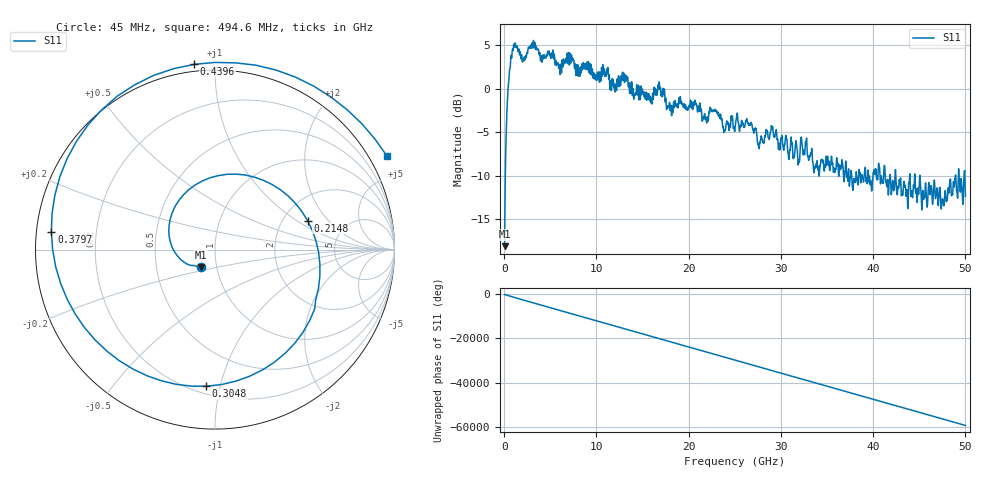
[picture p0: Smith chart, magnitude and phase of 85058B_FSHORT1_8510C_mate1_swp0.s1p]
!Created with skrf (http://scikit-rf.org).
# Hz S RI R 50.0
!freq ReS11 ImS11
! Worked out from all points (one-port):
!   10001 points, 45 MHz to 50 GHz, reference 50 ohm
!   lowest |S11| = -18.1 dB at 45 MHz (marker M1), VSWR 1.28, Z = 42.1 - j8.33 ohm
!   |S11| at or under -10 dB: 42.45 GHz to 43.96 GHz (1.507 GHz wide, 3.49 % of centre); 45.06 GHz to 48.93 GHz (3.866 GHz wide, 8.23 % of centre); 49.3 GHz to 49.86 GHz (555.2 MHz wide, 1.12 % of centre) (the widest 3 of 24)
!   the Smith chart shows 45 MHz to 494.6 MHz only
!   S11 on the Smith chart (normalised r, x): 45 MHz: 0.84, -0.17; 214.8 MHz: 2.72, +1.24; 304.8 MHz: 0.25, -0.91; 379.7 MHz: 0.04, +0.05; 439.6 MHz: -0.03, +0.89; 494.6 MHz: -0.69, +3.80
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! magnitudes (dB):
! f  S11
! 45 MHz  -18.1
! 214.8 MHz  -5.3
! 304.8 MHz  -2.4
! 379.7 MHz  -0.8
! 439.6 MHz  0.3
! 494.6 MHz  0.8
! 819.3 MHz  3.6
! 1.214 GHz  5.2
! 2.028 GHz  3.4
! 3.107 GHz  4.8
! 6.289 GHz  3.3
! 7.209 GHz  3.0
! 7.988 GHz  2.7
! 12.53 GHz  1.3
! 18.78 GHz  -1.8
! 25.02 GHz  -4.7
! 26.52 GHz  -4.2
! 27.66 GHz  -6.7
! 29.05 GHz  -4.6
! 31.27 GHz  -7.1
! 37.51 GHz  -10.3
! 39.74 GHz  -10.6
! 40.48 GHz  -10.5
! 43.76 GHz  -13.8
! 46.75 GHz  -12.7
! 47.54 GHz  -12.8
! 49.08 GHz  -11.9
! 50 GHz  -12.4
